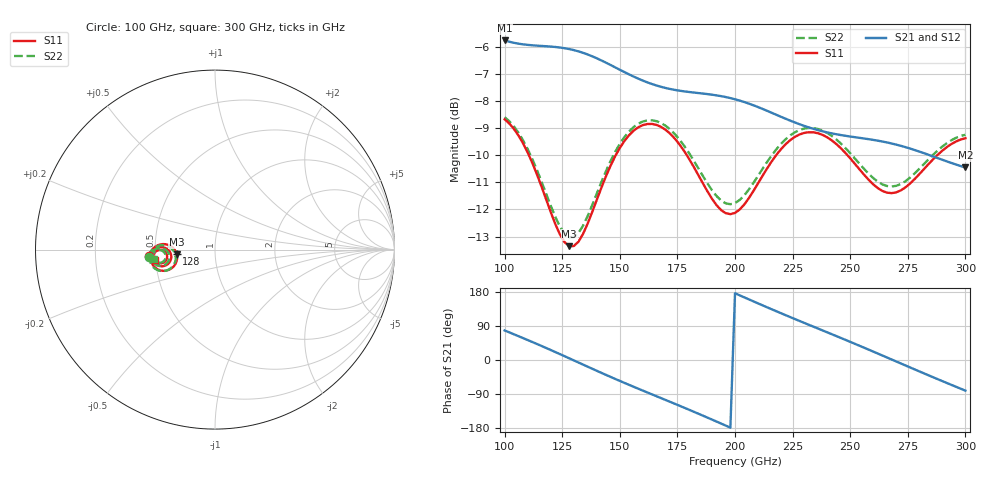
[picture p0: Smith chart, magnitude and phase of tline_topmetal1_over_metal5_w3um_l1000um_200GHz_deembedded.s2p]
! Created with skrf 2.2.0 (http://scikit-rf.org).
# GHz S DB R 50.0
! Port[1] = P1
! Port[2] = P2
!freq dBS11 angS11 dBS21 angS21 dBS12 angS12 dBS22 angS22
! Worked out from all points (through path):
!   101 points, 100 GHz to 300 GHz, reference 50 ohm
!   highest |S21| = -5.75 dB at 100 GHz (marker M1); lowest = -10.4 dB at 300 GHz (marker M2)
!   group delay of S21, straight-line fit = 7.21 ps
!   lowest |S11| = -13.4 dB at 128 GHz (marker M3), VSWR 1.55, Z = 32.4 - j1.75 ohm
!   |S11| at or under -10 dB: 110.6 GHz to 148.2 GHz (37.63 GHz wide, 29.1 % of centre); 179.1 GHz to 217.8 GHz (38.68 GHz wide, 19.5 % of centre); 248.9 GHz to 287.7 GHz (38.85 GHz wide, 14.5 % of centre)
!   |S22| runs from -13.0 to -8.6 dB; largest |S21 - S12| = 4.2e-14
!   S11 on the Smith chart (normalised r, x): 100 GHz: 0.46, -0.04; 128 GHz: 0.65, -0.03; 300 GHz: 0.49, -0.06
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100  -8.67 -174.7  -5.75 78.0  -5.75 78.0  -8.59 -173.8
108  -9.55 177.2  -5.89 57.8  -5.89 57.8  -9.44 178.3
116  -11.15 173.8  -5.95 37.1  -5.95 37.1  -10.97 175.1
128  -13.36 -173.1  -6.07 4.6  -6.07 4.6  -13.03 -172.4
134  -12.91 -162.3  -6.21 -12.0  -6.21 -12.0  -12.61 -162.3
142  -11.20 -156.3  -6.49 -33.9  -6.49 -33.9  -10.99 -156.6
150  -9.73 -159.2  -6.83 -55.2  -6.83 -55.2  -9.57 -159.3
158  -8.96 -165.8  -7.16 -75.7  -7.16 -75.7  -8.83 -165.6
168  -8.95 -174.9  -7.47 -100.8  -7.47 -100.8  -8.81 -174.4
176  -9.61 179.4  -7.61 -120.9  -7.61 -120.9  -9.43 -179.8
186  -11.02 177.8  -7.71 -146.7  -7.71 -146.7  -10.75 178.6
200  -12.13 -169.8  -7.93 176.1  -7.93 176.1  -11.76 -169.9
208  -11.32 -163.2  -8.15 154.7  -8.15 154.7  -11.02 -163.9
218  -9.98 -163.0  -8.50 128.5  -8.50 128.5  -9.77 -163.8
226  -9.32 -167.1  -8.78 108.1  -8.78 108.1  -9.15 -167.6
234  -9.15 -172.3  -9.02 88.1  -9.02 88.1  -8.99 -172.6
244  -9.58 -177.8  -9.22 63.1  -9.22 63.1  -9.41 -177.9
254  -10.51 -179.5  -9.35 37.7  -9.35 37.7  -10.31 -179.5
268  -11.40 -172.4  -9.56 1.3  -9.56 1.3  -11.15 -172.8
276  -11.04 -167.4  -9.75 -19.6  -9.75 -19.6  -10.82 -168.1
286  -10.14 -165.7  -10.04 -45.5  -10.04 -45.5  -9.98 -166.5
300  -9.37 -170.5  -10.45 -80.9  -10.45 -80.9  -9.24 -171.1
